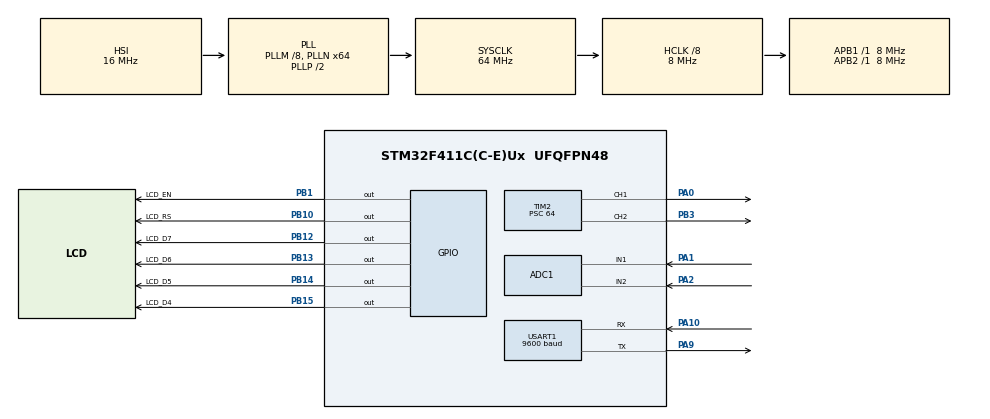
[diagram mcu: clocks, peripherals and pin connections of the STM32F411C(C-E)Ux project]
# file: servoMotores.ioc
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ADC1.Channel-0\#ChannelRegularConversion=ADC_CHANNEL_1
ADC1.ContinuousConvMode=ENABLE
ADC1.EOCSelection=ADC_EOC_SEQ_CONV
ADC1.NbrOfConversionFlag=1
ADC1.Rank-0\#ChannelRegularConversion=1
ADC1.SamplingTime-0\#ChannelRegularConversion=ADC_SAMPLETIME_3CYCLES
ADC1.ScanConvMode=ENABLE
ADC1.master=1
Mcu.Family=STM32F4
Mcu.Name=STM32F411C(C-E)Ux
Mcu.Package=UFQFPN48
NVIC.PriorityGroup=NVIC_PRIORITYGROUP_4
PA0-WKUP.Signal=S_TIM2_CH1_ETR
PA1.Signal=ADCx_IN1
PA10.Mode=Asynchronous
PA10.Signal=USART1_RX
PA13.Mode=Serial_Wire
PA13.Signal=SYS_JTMS-SWDIO
PA14.Mode=Serial_Wire
PA14.Signal=SYS_JTCK-SWCLK
PA2.Signal=ADCx_IN2
PA9.Mode=Asynchronous
PA9.Signal=USART1_TX
PB1.GPIO_Label=LCD_EN
PB1.Signal=GPIO_Output
PB10.GPIO_Label=LCD_RS
PB10.Signal=GPIO_Output
PB12.GPIO_Label=LCD_D7
PB12.Signal=GPIO_Output
PB13.GPIO_Label=LCD_D6
PB13.Signal=GPIO_Output
PB14.GPIO_Label=LCD_D5
PB14.Signal=GPIO_Output
PB15.GPIO_Label=LCD_D4
PB15.Signal=GPIO_Output
PB3.Signal=S_TIM2_CH2
PC14-OSC32_IN.Mode=LSE-External-Oscillator
PC14-OSC32_IN.Signal=RCC_OSC32_IN
PC15-OSC32_OUT.Mode=LSE-External-Oscillator
PC15-OSC32_OUT.Signal=RCC_OSC32_OUT
PH0\ -\ OSC_IN.Mode=HSE-External-Oscillator
PH0\ -\ OSC_IN.Signal=RCC_OSC_IN
PH1\ -\ OSC_OUT.Mode=HSE-External-Oscillator
PH1\ -\ OSC_OUT.Signal=RCC_OSC_OUT
ProjectManager.HeapSize=0x200
ProjectManager.StackSize=0x400
ProjectManager.TargetToolchain=STM32CubeIDE
RCC.48MHZClocksFreq_Value=32000000
RCC.AHBCLKDivider=RCC_SYSCLK_DIV8
RCC.AHBFreq_Value=8000000
RCC.APB1Freq_Value=8000000
RCC.APB1TimFreq_Value=8000000
RCC.APB2Freq_Value=8000000
RCC.APB2TimFreq_Value=8000000
RCC.CortexFreq_Value=8000000
RCC.HCLKFreq_Value=8000000
RCC.HSE_VALUE=25000000
RCC.HSI_VALUE=16000000
RCC.PLLM=8
RCC.PLLN=64
RCC.SYSCLKFreq_VALUE=64000000
RCC.SYSCLKSource=RCC_SYSCLKSOURCE_PLLCLK
RCC.VCOOutputFreq_Value=128000000
SH.ADCx_IN1.0=ADC1_IN1,IN1
SH.ADCx_IN2.0=ADC1_IN2,IN2
SH.S_TIM2_CH1_ETR.0=TIM2_CH1,PWM Generation1 CH1
SH.S_TIM2_CH2.0=TIM2_CH2,PWM Generation2 CH2
TIM2.Channel-PWM\ Generation1\ CH1=TIM_CHANNEL_1
TIM2.Channel-PWM\ Generation2\ CH2=TIM_CHANNEL_2
TIM2.Period=2499
TIM2.Prescaler=64
USART1.BaudRate=9600
USART1.VirtualMode=VM_ASYNC
VP_TIM2_VS_ClockSourceINT.Mode=Internal
board=custom

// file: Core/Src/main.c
/* USER CODE BEGIN Header */
/**
  ******************************************************************************
  * @file           : main.c
  * @brief          : Main program body
  ******************************************************************************
  * @attention
  *
  * Copyright (c) 2023 STMicroelectronics.
  * All rights reserved.
  *
  * This software is licensed under terms that can be found in the LICENSE file
  * in the root directory of this software component.
  * If no LICENSE file comes with this software, it is provided AS-IS.
  *
  ******************************************************************************
  */
/* USER CODE END Header */
#include "main.h"

/* USER CODE BEGIN Includes */
#include "lcd.h"
#include <stdio.h>
#include <string.h>
/* USER CODE END Includes */

ADC_HandleTypeDef hadc1;

TIM_HandleTypeDef htim2;

UART_HandleTypeDef huart1;

/* USER CODE BEGIN PV */
LCD_t lcd;
uint16_t adcIn = 0;
uint32_t tiempoInicial = 0;
//char bufferL[10];
//char bufferT[9];
//char buffer_Lectura[4];
//char buffer_Tiempo[7];

/* USER CODE END PV */

void SystemClock_Config(void);
static void MX_GPIO_Init(void);
static void MX_TIM2_Init(void);
static void MX_USART1_UART_Init(void);
static void MX_ADC1_Init(void);
/* USER CODE BEGIN PFP */
uint32_t obtenerTiempoActual(void);
void printLCD(uint32_t, uint32_t);

/* USER CODE END PFP */

int main(void)
{
  /* USER CODE BEGIN 1 */
	tiempoInicial = obtenerTiempoActual();
  /* USER CODE END 1 */

  /* MCU Configuration--------------------------------------------------------*/

  /* Reset of all peripherals, Initializes the Flash interface and the Systick. */
  HAL_Init();

  /* Configure the system clock */
  SystemClock_Config();

  /* Initialize all configured peripherals */
  MX_GPIO_Init();
  MX_TIM2_Init();
  MX_USART1_UART_Init();
  MX_ADC1_Init();
  /* USER CODE BEGIN 2 */
  HAL_TIM_PWM_Start(&htim2,TIM_CHANNEL_1);
  HAL_TIM_PWM_Start(&htim2,TIM_CHANNEL_2);
  HAL_ADC_Start(&hadc1);

  //--------------------------------LCD SETTINGS-------------------------------------
  lcd.RS_port = LCD_RS_GPIO_Port;
  lcd.RS_pin = LCD_RS_Pin;
  lcd.EN_port = LCD_EN_GPIO_Port;
  lcd.EN_pin = LCD_EN_Pin;
  lcd.D4_port = LCD_D4_GPIO_Port;
  lcd.D4_pin = LCD_D4_Pin;
  lcd.D5_port = LCD_D5_GPIO_Port;
  lcd.D5_pin = LCD_D5_Pin;
  lcd.D6_port = LCD_D6_GPIO_Port;
  lcd.D6_pin = LCD_D6_Pin;
  lcd.D7_port = LCD_D7_GPIO_Port;
  lcd.D7_pin = LCD_D7_Pin;

  //--------INICIALIZANDO EL LCD------------
  lcd_begin(&lcd, 16, 2, LCD_5x8DOTS);

  /* USER CODE END 2 */

  /* Infinite loop */
  /* USER CODE BEGIN WHILE */
  int i = 65;
  while (1)
  {

//	  sprintf(val,"%u\n", adcIn);
//	  uint8_t len = strlen(val);
//	  HAL_UART_Transmit(&huart1, (uint8_t*)val, len, 100);
/*
	  i =+ 5;
	  TIM2->CCR1 = i;
	  if (i == 180){

		  TIM2->CCR2 = 130 ;
	  }

	  HAL_ADC_PollForConversion(&hadc1, 50);
	  adcIn = HAL_ADC_GetValue(&hadc1);
	  uint32_t tiempoTranscurrido = obtenerTiempoActual() - tiempoInicial;
	  printLCD(adcIn, TIM2->CCR2);
	  */
	  for (int i = 65; i < 180; i++) {
		  TIM2->CCR1 = i ;
		  if (i == 180){

		  	  TIM2->CCR2 = 130 ;
	  	  }
		  else
			  TIM2->CCR2 = 10 ;
//		  HAL_Delay(50);
		  HAL_ADC_PollForConversion(&hadc1, 50);
		  adcIn = HAL_ADC_GetValue(&hadc1);
		  uint32_t tiempoTranscurrido = obtenerTiempoActual() - tiempoInicial;

		  printLCD(adcIn, tiempoTranscurrido);

	  }

	  HAL_Delay(800);

	  for (int i = 180; i > 65; i--) {
		  TIM2->CCR1 = i;
		  if (i == 180){

		  	  TIM2->CCR2 = 130 ;
	  	  }
		  else
			  TIM2->CCR2 = 10 ;
//		  HAL_Delay(50);
		  HAL_ADC_PollForConversion(&hadc1, 50);
		  adcIn = HAL_ADC_GetValue(&hadc1);
		  uint32_t tiempoTranscurrido = obtenerTiempoActual() - tiempoInicial;

		  printLCD(adcIn, tiempoTranscurrido);
	  }

    /* USER CODE END WHILE */

  }
}

void SystemClock_Config(void)
{
  RCC_OscInitTypeDef RCC_OscInitStruct = {0};
  RCC_ClkInitTypeDef RCC_ClkInitStruct = {0};

  /** Configure the main internal regulator output voltage
  */
  __HAL_RCC_PWR_CLK_ENABLE();
  __HAL_PWR_VOLTAGESCALING_CONFIG(PWR_REGULATOR_VOLTAGE_SCALE1);

  /** Initializes the RCC Oscillators according to the specified parameters
  * in the RCC_OscInitTypeDef structure.
  */
  RCC_OscInitStruct.OscillatorType = RCC_OSCILLATORTYPE_HSI;
  RCC_OscInitStruct.HSIState = RCC_HSI_ON;
  RCC_OscInitStruct.HSICalibrationValue = RCC_HSICALIBRATION_DEFAULT;
  RCC_OscInitStruct.PLL.PLLState = RCC_PLL_ON;
  RCC_OscInitStruct.PLL.PLLSource = RCC_PLLSOURCE_HSI;
  RCC_OscInitStruct.PLL.PLLM = 8;
  RCC_OscInitStruct.PLL.PLLN = 64;
  RCC_OscInitStruct.PLL.PLLP = RCC_PLLP_DIV2;
  RCC_OscInitStruct.PLL.PLLQ = 4;
  if (HAL_RCC_OscConfig(&RCC_OscInitStruct) != HAL_OK)
  {
    Error_Handler();
  }

  /** Initializes the CPU, AHB and APB buses clocks
  */
  RCC_ClkInitStruct.ClockType = RCC_CLOCKTYPE_HCLK|RCC_CLOCKTYPE_SYSCLK
                              |RCC_CLOCKTYPE_PCLK1|RCC_CLOCKTYPE_PCLK2;
  RCC_ClkInitStruct.SYSCLKSource = RCC_SYSCLKSOURCE_PLLCLK;
  RCC_ClkInitStruct.AHBCLKDivider = RCC_SYSCLK_DIV8;
  RCC_ClkInitStruct.APB1CLKDivider = RCC_HCLK_DIV1;
  RCC_ClkInitStruct.APB2CLKDivider = RCC_HCLK_DIV1;

  if (HAL_RCC_ClockConfig(&RCC_ClkInitStruct, FLASH_LATENCY_0) != HAL_OK)
  {
    Error_Handler();
  }
}

static void MX_ADC1_Init(void)
{

  ADC_ChannelConfTypeDef sConfig = {0};

  /** Configure the global features of the ADC (Clock, Resolution, Data Alignment and number of conversion)
  */
  hadc1.Instance = ADC1;
  hadc1.Init.ClockPrescaler = ADC_CLOCK_SYNC_PCLK_DIV2;
  hadc1.Init.Resolution = ADC_RESOLUTION_12B;
  hadc1.Init.ScanConvMode = ENABLE;
  hadc1.Init.ContinuousConvMode = ENABLE;
  hadc1.Init.DiscontinuousConvMode = DISABLE;
  hadc1.Init.ExternalTrigConvEdge = ADC_EXTERNALTRIGCONVEDGE_NONE;
  hadc1.Init.ExternalTrigConv = ADC_SOFTWARE_START;
  hadc1.Init.DataAlign = ADC_DATAALIGN_RIGHT;
  hadc1.Init.NbrOfConversion = 1;
  hadc1.Init.DMAContinuousRequests = DISABLE;
  hadc1.Init.EOCSelection = ADC_EOC_SEQ_CONV;
  if (HAL_ADC_Init(&hadc1) != HAL_OK)
  {
    Error_Handler();
  }

  /** Configure for the selected ADC regular channel its corresponding rank in the sequencer and its sample time.
  */
  sConfig.Channel = ADC_CHANNEL_1;
  sConfig.Rank = 1;
  sConfig.SamplingTime = ADC_SAMPLETIME_3CYCLES;
  if (HAL_ADC_ConfigChannel(&hadc1, &sConfig) != HAL_OK)
  {
    Error_Handler();
  }

}

static void MX_TIM2_Init(void)
{

  TIM_ClockConfigTypeDef sClockSourceConfig = {0};
  TIM_MasterConfigTypeDef sMasterConfig = {0};
  TIM_OC_InitTypeDef sConfigOC = {0};

  htim2.Instance = TIM2;
  htim2.Init.Prescaler = 64;
  htim2.Init.CounterMode = TIM_COUNTERMODE_UP;
  htim2.Init.Period = 2499;
  htim2.Init.ClockDivision = TIM_CLOCKDIVISION_DIV1;
  htim2.Init.AutoReloadPreload = TIM_AUTORELOAD_PRELOAD_DISABLE;
  if (HAL_TIM_Base_Init(&htim2) != HAL_OK)
  {
    Error_Handler();
  }
  sClockSourceConfig.ClockSource = TIM_CLOCKSOURCE_INTERNAL;
  if (HAL_TIM_ConfigClockSource(&htim2, &sClockSourceConfig) != HAL_OK)
  {
    Error_Handler();
  }
  if (HAL_TIM_PWM_Init(&htim2) != HAL_OK)
  {
    Error_Handler();
  }
  sMasterConfig.MasterOutputTrigger = TIM_TRGO_RESET;
  sMasterConfig.MasterSlaveMode = TIM_MASTERSLAVEMODE_DISABLE;
  if (HAL_TIMEx_MasterConfigSynchronization(&htim2, &sMasterConfig) != HAL_OK)
  {
    Error_Handler();
  }
  sConfigOC.OCMode = TIM_OCMODE_PWM1;
  sConfigOC.Pulse = 0;
  sConfigOC.OCPolarity = TIM_OCPOLARITY_HIGH;
  sConfigOC.OCFastMode = TIM_OCFAST_DISABLE;
  if (HAL_TIM_PWM_ConfigChannel(&htim2, &sConfigOC, TIM_CHANNEL_1) != HAL_OK)
  {
    Error_Handler();
  }
  if (HAL_TIM_PWM_ConfigChannel(&htim2, &sConfigOC, TIM_CHANNEL_2) != HAL_OK)
  {
    Error_Handler();
  }
  HAL_TIM_MspPostInit(&htim2);

}

static void MX_USART1_UART_Init(void)
{

  huart1.Instance = USART1;
  huart1.Init.BaudRate = 9600;
  huart1.Init.WordLength = UART_WORDLENGTH_8B;
  huart1.Init.StopBits = UART_STOPBITS_1;
  huart1.Init.Parity = UART_PARITY_NONE;
  huart1.Init.Mode = UART_MODE_TX_RX;
  huart1.Init.HwFlowCtl = UART_HWCONTROL_NONE;
  huart1.Init.OverSampling = UART_OVERSAMPLING_16;
  if (HAL_UART_Init(&huart1) != HAL_OK)
  {
    Error_Handler();
  }

}

static void MX_GPIO_Init(void)
{
  GPIO_InitTypeDef GPIO_InitStruct = {0};

  /* GPIO Ports Clock Enable */
  __HAL_RCC_GPIOC_CLK_ENABLE();
  __HAL_RCC_GPIOH_CLK_ENABLE();
  __HAL_RCC_GPIOA_CLK_ENABLE();
  __HAL_RCC_GPIOB_CLK_ENABLE();

  /*Configure GPIO pin Output Level */
  HAL_GPIO_WritePin(GPIOB, LCD_EN_Pin|LCD_RS_Pin|LCD_D7_Pin|LCD_D6_Pin
                          |LCD_D5_Pin|LCD_D4_Pin, GPIO_PIN_RESET);

  /*Configure GPIO pins : LCD_EN_Pin LCD_RS_Pin LCD_D7_Pin LCD_D6_Pin
                           LCD_D5_Pin LCD_D4_Pin */
  GPIO_InitStruct.Pin = LCD_EN_Pin|LCD_RS_Pin|LCD_D7_Pin|LCD_D6_Pin
                          |LCD_D5_Pin|LCD_D4_Pin;
  GPIO_InitStruct.Mode = GPIO_MODE_OUTPUT_PP;
  GPIO_InitStruct.Pull = GPIO_NOPULL;
  GPIO_InitStruct.Speed = GPIO_SPEED_FREQ_LOW;
  HAL_GPIO_Init(GPIOB, &GPIO_InitStruct);

}

/* USER CODE BEGIN 4 */

/**
  * @brief Time obtaining function
  * @param None
  * @retval None
  */

uint32_t obtenerTiempoActual(void)
{
    /* Implementación de la función para obtener el tiempo actual */
    return HAL_GetTick();
}

/**
  * @brief Print data on LCD
  * @param None
  * @retval None
  */

void printLCD(uint32_t adcIn, uint32_t tiempoTranscurrido)
{
	  char bufferL[10];
	  char buffer_Lectura[4];
	  char bufferT[9];
	  char buffer_Tiempo[7];

	  //voltaje
	  lcd_setCursor(&lcd, 0, 0);
	  sprintf(bufferL, "Lectura: ");
	  lcd_print(&lcd, bufferL);

	  //valor
	  lcd_setCursor(&lcd, 9, 0);
	  sprintf(buffer_Lectura, "%hu", adcIn);
	  lcd_print(&lcd, buffer_Lectura);

	  sprintf(buffer_Lectura, "   ");
	  lcd_print(&lcd, buffer_Lectura);

	  //tiempo
	  lcd_setCursor(&lcd, 0, 1);
	  sprintf(bufferT, "Tiempo: ");
	  lcd_print(&lcd, bufferT);

	  //valor
	  lcd_setCursor(&lcd, 8, 1);
	  sprintf(buffer_Tiempo, "%lu", tiempoTranscurrido);
	  lcd_print(&lcd, buffer_Tiempo);

	  sprintf(buffer_Tiempo, "    ");
	  lcd_print(&lcd, buffer_Tiempo);

	  HAL_Delay(1);
}

/* USER CODE END 4 */

void Error_Handler(void)
{
  __disable_irq();
  while (1)
  {
  }
}
